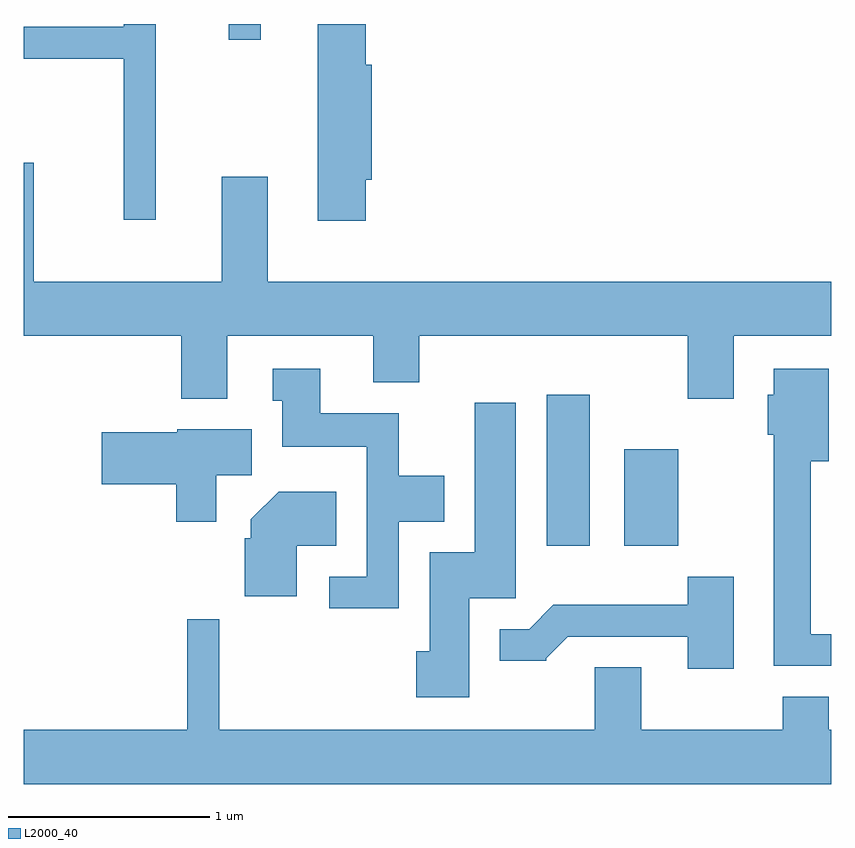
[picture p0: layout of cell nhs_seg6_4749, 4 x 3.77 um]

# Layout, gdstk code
import gdstk
lib = gdstk.Library(unit=1e-6, precision=1e-09)
def R(c, l, rs):  # rectangles x0, y0, x1, y1
    for r in rs: c.add(gdstk.rectangle(r[:2], r[2:], *l))
def P(c, l, *ps):  # polygons
    for p in ps: c.add(gdstk.Polygon(p, *l))
L2000_40 = (2000, 40)

nhs_seg6_4749 = lib.new_cell('nhs_seg6_4749')
R(nhs_seg6_4749, L2000_40, [(332.201,1635.576,332.414,1636.324), (332.586,1635.576,332.854,1636.054), (330.626,1638.083,330.784,1638.162)])
P(nhs_seg6_4749, L2000_40, [(330.264,1638.162),(330.106,1638.162),(330.106,1638.149),(329.611,1638.149),(329.611,1637.991),(330.106,1637.991),(330.106,1637.193),(330.264,1637.193)],
  [(331.304,1637.391),(331.334,1637.391),(331.334,1637.959),(331.304,1637.959),(331.304,1638.162),(331.066,1638.162),(331.066,1637.186),(331.304,1637.186)],
  [(330.619,1636.616),(331.341,1636.616),(331.341,1636.386),(331.569,1636.386),(331.569,1636.616),(332.901,1636.616),(332.901,1636.306),(333.129,1636.306),(333.129,1636.616),(333.611,1636.616),(333.611,1636.884),(330.819,1636.884),(330.819,1637.404),(330.591,1637.404),(330.591,1636.884),(329.659,1636.884),(329.659,1637.474),(329.611,1637.474),(329.611,1636.616),(330.391,1636.616),(330.391,1636.306),(330.619,1636.306)],
  [(333.611,1635.139),(333.509,1635.139),(333.509,1635.996),(333.599,1635.996),(333.599,1636.454),(333.326,1636.454),(333.326,1636.324),(333.296,1636.324),(333.296,1636.126),(333.326,1636.126),(333.326,1634.981),(333.611,1634.981)],
  [(331.469,1635.696),(331.694,1635.696),(331.694,1635.924),(331.469,1635.924),(331.469,1636.234),(331.079,1636.234),(331.079,1636.454),(330.843,1636.454),(330.843,1636.296),(330.891,1636.296),(330.891,1636.066),(331.311,1636.066),(331.311,1635.424),(331.123,1635.424),(331.123,1635.266),(331.469,1635.266)],
  [(331.819,1635.316),(332.049,1635.316),(332.049,1636.284),(331.846,1636.284),(331.846,1635.544),(331.621,1635.544),(331.621,1635.054),(331.556,1635.054),(331.556,1634.826),(331.819,1634.826)],
  [(330.564,1635.926),(330.739,1635.926),(330.739,1636.154),(330.37,1636.154),(330.37,1636.139),(329.996,1636.139),(329.996,1635.881),(330.366,1635.881),(330.366,1635.696),(330.564,1635.696)],
  [(330.964,1635.576),(331.159,1635.576),(331.159,1635.844),(330.874,1635.844),(330.736,1635.707),(330.736,1635.614),(330.706,1635.614),(330.706,1635.326),(330.964,1635.326)],
  [(333.129,1635.424),(332.901,1635.424),(332.901,1635.284),(332.234,1635.284),(332.114,1635.164),(331.968,1635.164),(331.968,1635.006),(332.2,1635.006),(332.2,1635.02),(332.307,1635.126),(332.901,1635.126),(332.901,1634.966),(333.129,1634.966)],
  [(333.611,1634.664),(333.599,1634.664),(333.599,1634.829),(333.371,1634.829),(333.371,1634.664),(332.669,1634.664),(332.669,1634.974),(332.441,1634.974),(332.441,1634.664),(330.579,1634.664),(330.579,1635.213),(330.421,1635.213),(330.421,1634.664),(329.611,1634.664),(329.611,1634.396),(333.611,1634.396)])

lib.write_gds('nhs_seg6_4749.gds')
